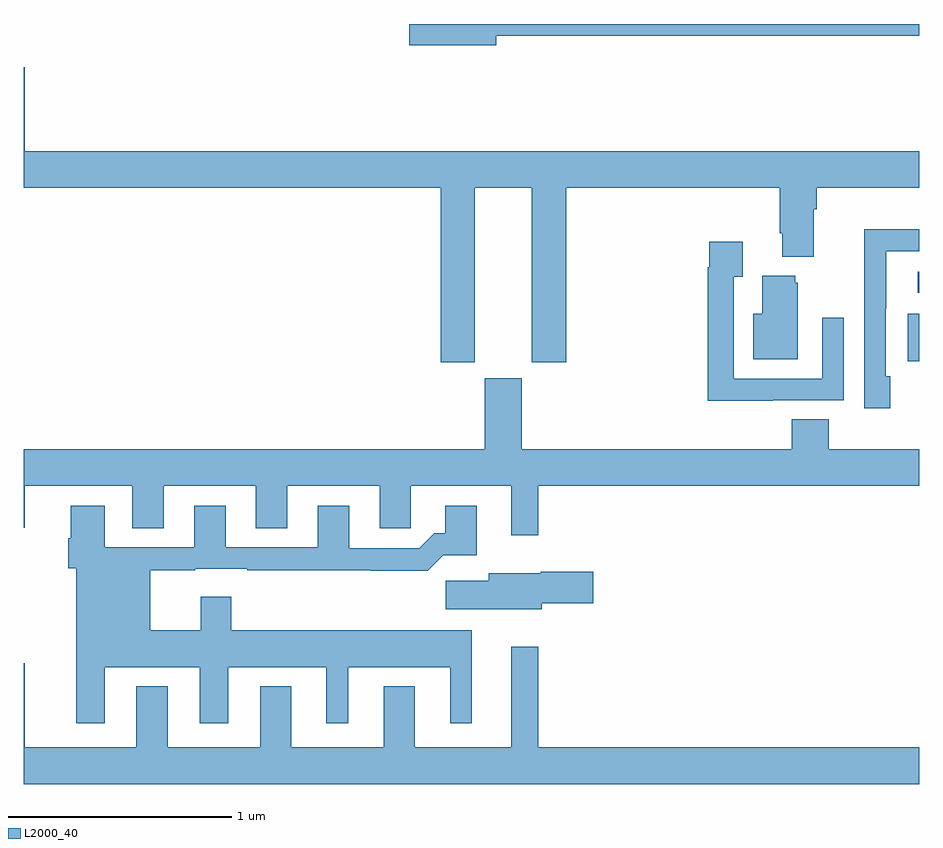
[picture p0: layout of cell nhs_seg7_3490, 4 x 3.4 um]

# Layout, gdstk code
import gdstk
lib = gdstk.Library(unit=1e-6, precision=1e-09)
def R(c, l, rs):  # rectangles x0, y0, x1, y1
    for r in rs: c.add(gdstk.rectangle(r[:2], r[2:], *l))
def P(c, l, *ps):  # polygons
    for p in ps: c.add(gdstk.Polygon(p, *l))
L2000_40 = (2000, 40)

nhs_seg7_3490 = lib.new_cell('nhs_seg7_3490')
R(nhs_seg7_3490, L2000_40, [(336.95,1014.494,337,1014.706), (336.993,1014.798,337,1014.894)])
P(nhs_seg7_3490, L2000_40, [(335.11,1015.948),(337,1015.948),(337,1016),(334.722,1016),(334.722,1015.906),(335.11,1015.906)],
  [(335.014,1015.268),(335.27,1015.268),(335.27,1014.489),(335.423,1014.489),(335.423,1015.268),(336.377,1015.268),(336.377,1015.066),(336.389,1015.066),(336.389,1014.959),(336.529,1014.959),(336.529,1015.172),(336.542,1015.172),(336.542,1015.268),(337,1015.268),(337,1015.432),(333.004,1015.432),(333.004,1015.807),(333,1015.807),(333,1015.268),(334.862,1015.268),(334.862,1014.489),(335.014,1014.489)],
  [(336.871,1014.426),(336.852,1014.426),(336.852,1014.73),(336.853,1014.73),(336.853,1014.984),(337,1014.984),(337,1015.082),(336.754,1015.082),(336.754,1014.775),(336.756,1014.775),(336.756,1014.282),(336.871,1014.282)],
  [(336.347,1014.318),(336.663,1014.318),(336.663,1014.688),(336.567,1014.688),(336.567,1014.414),(336.171,1014.414),(336.171,1014.871),(336.211,1014.871),(336.211,1015.027),(336.063,1015.027),(336.063,1014.914),(336.055,1014.914),(336.055,1014.317),(336.347,1014.317)],
  [(336.457,1014.843),(336.446,1014.843),(336.446,1014.874),(336.299,1014.874),(336.299,1014.706),(336.26,1014.706),(336.26,1014.503),(336.457,1014.503)],
  [(333,1013.748),(333.004,1013.748),(333.004,1013.936),(333.485,1013.936),(333.485,1013.746),(333.625,1013.746),(333.625,1013.936),(334.037,1013.936),(334.037,1013.746),(334.177,1013.746),(334.177,1013.936),(334.589,1013.936),(334.589,1013.746),(334.728,1013.746),(334.728,1013.936),(335.177,1013.936),(335.177,1013.715),(335.299,1013.715),(335.299,1013.936),(337,1013.936),(337,1014.1),(336.596,1014.1),(336.596,1014.233),(336.431,1014.233),(336.431,1014.1),(335.224,1014.1),(335.224,1014.417),(335.06,1014.417),(335.06,1014.1),(333,1014.1)],
  [(333.361,1013.126),(333.785,1013.126),(333.785,1012.875),(333.913,1012.875),(333.913,1013.126),(334.352,1013.126),(334.352,1012.875),(334.45,1012.875),(334.45,1013.126),(334.904,1013.126),(334.904,1012.875),(335.002,1012.875),(335.002,1013.29),(333.926,1013.29),(333.926,1013.44),(333.791,1013.44),(333.791,1013.29),(333.565,1013.29),(333.565,1013.56),(333.765,1013.56),(333.765,1013.565),(333.997,1013.565),(333.997,1013.56),(334.549,1013.56),(334.549,1013.558),(334.805,1013.558),(334.874,1013.627),(335.023,1013.627),(335.023,1013.848),(334.883,1013.848),(334.883,1013.725),(334.834,1013.725),(334.767,1013.658),(334.453,1013.658),(334.453,1013.848),(334.313,1013.848),(334.313,1013.661),(333.901,1013.661),(333.901,1013.848),(333.761,1013.848),(333.761,1013.661),(333.361,1013.661),(333.361,1013.848),(333.209,1013.848),(333.209,1013.702),(333.197,1013.702),(333.197,1013.568),(333.233,1013.568),(333.233,1012.875),(333.361,1012.875)],
  [(335.314,1013.411),(335.545,1013.411),(335.545,1013.553),(335.31,1013.553),(335.31,1013.545),(335.078,1013.545),(335.078,1013.513),(334.884,1013.513),(334.884,1013.384),(335.314,1013.384)],
  [(337,1012.768),(335.299,1012.768),(335.299,1013.218),(335.177,1013.218),(335.177,1012.768),(334.747,1012.768),(334.747,1013.041),(334.607,1013.041),(334.607,1012.768),(334.195,1012.768),(334.195,1013.041),(334.055,1013.041),(334.055,1012.768),(333.643,1012.768),(333.643,1013.041),(333.503,1013.041),(333.503,1012.768),(333.004,1012.768),(333.004,1013.143),(333,1013.143),(333,1012.604),(337,1012.604)])

lib.write_gds('nhs_seg7_3490.gds')
